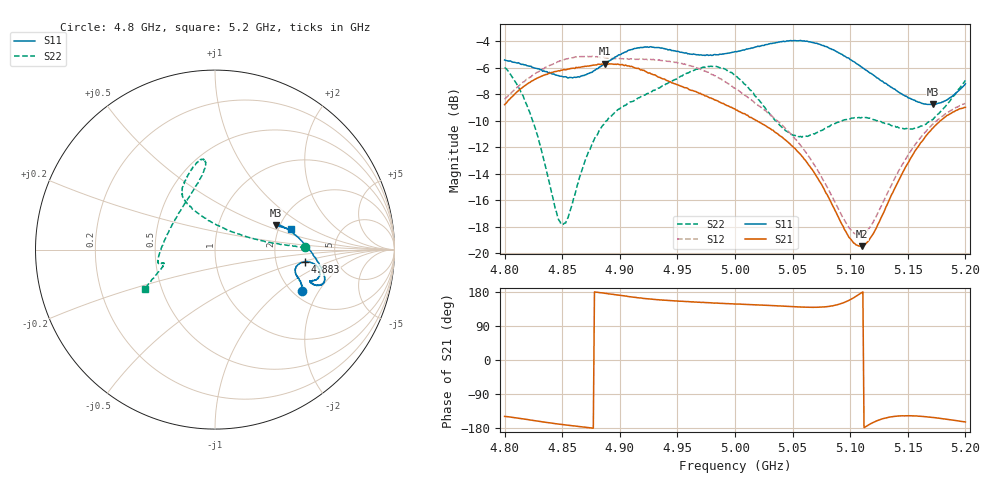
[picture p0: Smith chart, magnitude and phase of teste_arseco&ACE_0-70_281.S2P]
! Network Analyzer HP8722D
! Hewlett-Packard
! Data name: Linha & Wilkinson
! Saver's name: Rodrigo Anjos
! Comments: Teste da utilização de aquisição
! continua pelo VNA HP8722D
! Time and date: 8/5/2025 15:06
!  Frequency  S11  S21  S12  S22
# HZ  S  MA R 50
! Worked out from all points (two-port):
!   401 points, 4.8 GHz to 5.2 GHz, reference 50 ohm
!   highest |S21| = -5.69 dB at 4.887 GHz (marker M1); lowest = -19.4 dB at 5.11 GHz (marker M2)
!   |S21| within 3 dB of the highest: 4.801 GHz to 4.989 GHz (188.1 MHz wide, 3.84 % of centre)
!   lowest |S11| = -8.8 dB at 5.172 GHz (marker M3), VSWR 2.15, Z = 94.8 + j30.1 ohm
!   |S11| at or under -10 dB: nowhere
!   |S22| runs from -17.8 to -5.9 dB; largest |S21 - S12| = 1.1
!   S11 on the Smith chart (normalised r, x): 4.8 GHz: 2.25, -1.44; 4.883 GHz: 2.93, -0.54; 5.2 GHz: 2.33, +0.65
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4.8e9  0.5366 -25.2  0.3639 -148.8  0.3813 10.7  0.5025 1.4
4.812e9  0.5237 -22.3  0.4109 -153.6  0.4265 8.8  0.424 2.7
4.823e9  0.5075 -20.2  0.4452 -158.6  0.4638 7.2  0.3287 6.2
4.848e9  0.4655 -16.2  0.4878 -169.5  0.5323 3.3  0.132 54.5
4.855e9  0.4585 -14.3  0.4955 -172.2  0.543 2.2  0.1362 85.1
4.867e9  0.4673 -10.9  0.5051 -176.3  0.5523 0.5  0.2052 112.0
4.883e9  0.5056 -7.8  0.5156 177.6  0.5489 -0.9  0.295 120.8
4.887e9  0.5193 -7.6  0.5197 176.0  0.5476 -1.0  0.3103 121.4
4.911e9  0.5877 -10.5  0.5055 166.0  0.541 -0.3  0.3743 119.3
4.934e9  0.5973 -15.5  0.4614 158.8  0.5372 -1.3  0.4199 113.0
4.974e9  0.5576 -18.4  0.3925 151.6  0.487 -4.9  0.5037 99.5
5e9  0.5765 -19.1  0.3507 147.8  0.4206 -5.0  0.4713 96.7
5.018e9  0.6013 -19.4  0.3178 145.7  0.3674 -2.6  0.3907 103.3
5.044e9  0.6301 -17.3  0.2674 141.7  0.295 3.0  0.2901 131.3
5.067e9  0.6249 -13.3  0.2074 139.0  0.2225 9.5  0.2814 164.5
5.098e9  0.5465 -2.7  0.1173 156.5  0.1272 37.1  0.3219 -170.6
5.11e9  0.504 2.9  0.1066 177.7  0.1174 60.9  0.3257 -167.2
5.119e9  0.4741 7.4  0.1169 -166.1  0.1292 78.2  0.3211 -166.2
5.134e9  0.4284 14.4  0.1594 -150.8  0.1745 94.7  0.3069 -165.6
5.152e9  0.3843 20.9  0.2267 -147.1  0.2414 101.5  0.2943 -164.5
5.172e9  0.3647 22.2  0.2975 -151.7  0.308 102.6  0.3204 -160.1
5.2e9  0.4361 14.9  0.3555 -163.5  0.3681 103.0  0.449 -150.5
